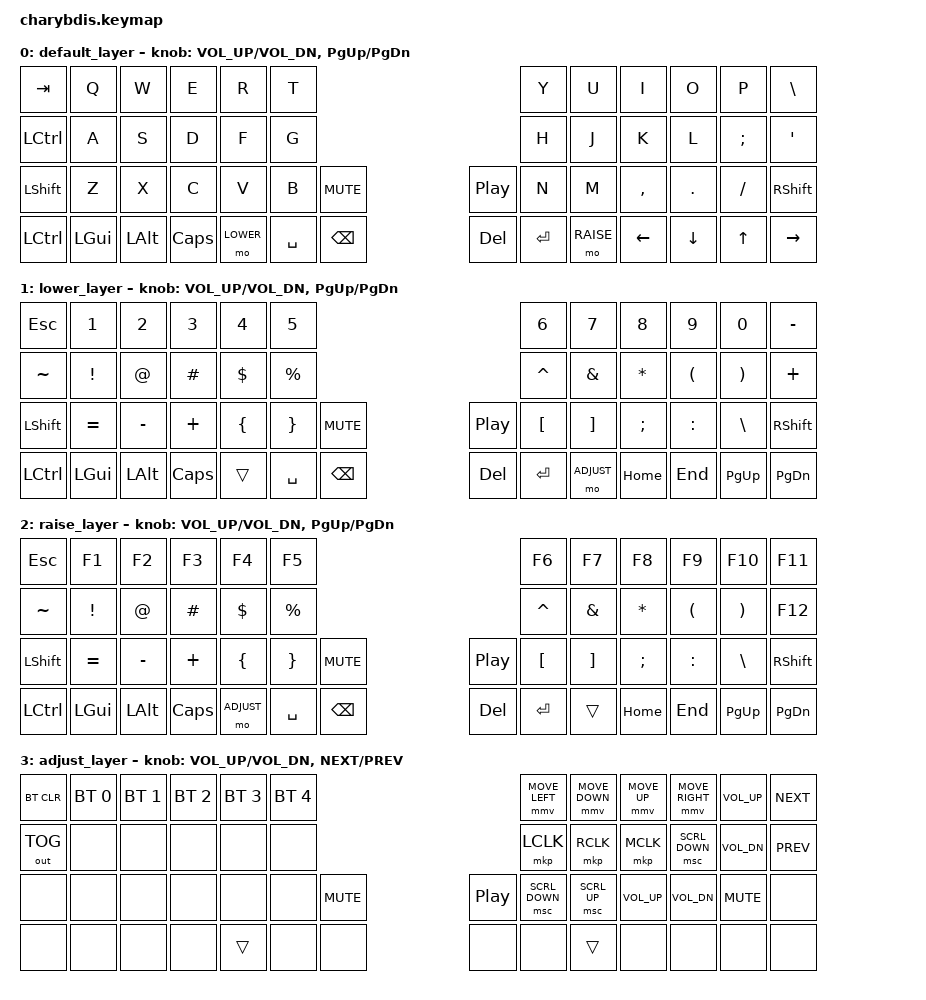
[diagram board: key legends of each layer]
/*
 * Copyright (c) 2023 The ZMK Contributors
 *
 * SPDX-License-Identifier: MIT
 */

#include <behaviors.dtsi>
#include <dt-bindings/zmk/keys.h>
#include <dt-bindings/zmk/bt.h>
#include <dt-bindings/zmk/outputs.h>
#include <dt-bindings/zmk/mouse.h>

// Layers
#define DEFAULT 0
#define LOWER   1
#define RAISE   2
#define ADJUST  3

/ {
    keymap {
        compatible = "zmk,keymap";

        default_layer {
            // ---------------------------------------------------------------------------------------------------------------------------------
            // |  TAB  |  Q  |  W  |  E   |  R   |  T   |                                          |  Y   |  U    |  I    |  O   |   P   |   \  |
            // |  CTRL |  A  |  S  |  D   |  F   |  G   |                                          |  H   |  J    |  K    |  L   |   ;   |   '  |
            // | SHIFT |  Z  |  X  |  C   |  V   |  B   |  MUTE  |                        | PLAY   |  N   |  M    |  ,    |  .   |   /   | SHIFT|
            // | LCTL  | LGUI| LALT| CAPS |LOWER |SPACE | BSPACE |                        | DELETE |ENTER | RAISE | LEFT  | DOWN |  UP   | RIGHT|
            //                                                                
            bindings = <
                &kp TAB   &kp Q &kp W &kp E &kp R &kp T                                                &kp Y &kp U  &kp I     &kp O   &kp P    &kp BSLH
                &kp LCTRL &kp A &kp S &kp D &kp F &kp G                                                &kp H &kp J  &kp K     &kp L   &kp SEMI &kp SQT
                &kp LSHFT &kp Z &kp X &kp C &kp V &kp B &kp C_MUTE                         &kp C_PP    &kp N &kp M  &kp COMMA &kp DOT &kp FSLH &kp RSHFT
                &kp LCTRL &kp LGUI &kp LALT &kp CAPS &mo LOWER &kp SPACE &kp BSPC         &kp DEL &kp RET &mo RAISE &kp LEFT &kp DOWN &kp UP &kp RIGHT
            >;

            sensor-bindings = <&inc_dec_kp C_VOL_UP C_VOL_DN &inc_dec_kp PG_UP PG_DN>;
        };

        lower_layer {
            // ---------------------------------------------------------------------------------------------------------------------------------
            // |  ESC  |  1  |  2  |  3   |  4   |  5   |                                          |  6   |  7    |  8    |  9   |   0   |   -  |
            // |   ~   |  !  |  @  |  #   |  $   |  %   |                                          |  ^   |  &    |  *    |  (   |   )   |   +  |
            // | SHIFT |  =  |  -  |  +   |  {   |  }   |  MUTE  |                        | PLAY   |  [   |  ]    |  ;    |  :   |   \   | SHIFT|
            // | LCTL  | LGUI| LALT| CAPS |LOWER |SPACE | BSPACE |                        | DELETE |ENTER | RAISE | HOME  | END  | PGUP  | PGDN |
            //
            bindings = <
                &kp ESC  &kp N1 &kp N2 &kp N3 &kp N4 &kp N5                                      &kp N6 &kp N7 &kp N8 &kp N9 &kp N0 &kp MINUS
                &kp TILDE &kp EXCL &kp AT &kp HASH &kp DLLR &kp PRCNT                            &kp CARET &kp AMPS &kp ASTRK &kp LPAR &kp RPAR &kp PLUS
                &kp LSHFT &kp EQUAL &kp MINUS &kp PLUS &kp LBRC &kp RBRC &kp C_MUTE   &kp C_PP   &kp LBKT &kp RBKT &kp SEMI &kp COLON &kp BSLH &kp RSHFT
                &kp LCTRL &kp LGUI &kp LALT &kp CAPS &trans &kp SPACE &kp BSPC        &kp DEL    &kp RET &mo ADJUST &kp HOME &kp END &kp PG_UP &kp PG_DN
            >;

            sensor-bindings = <&inc_dec_kp C_VOL_UP C_VOL_DN &inc_dec_kp PG_UP PG_DN>;
        };

        raise_layer {
            // ---------------------------------------------------------------------------------------------------------------------------------
            // |  ESC  |  F1 |  F2 |  F3  |  F4  |  F5  |                                          |  F6  |  F7   |  F8   |  F9  |  F10  |  F11 |
            // |   ~   |  !  |  @  |  #   |  $   |  %   |                                          |  ^   |  &    |  *    |  (   |   )   |  F12 |
            // | SHIFT |  =  |  -  |  +   |  {   |  }   |  MUTE  |                        | PLAY   |  [   |  ]    |  ;    |  :   |   \   | SHIFT|
            // | LCTL  | LGUI| LALT| CAPS |LOWER |SPACE | BSPACE |                        | DELETE |ENTER | RAISE | HOME  | END  | PGUP  | PGDN |
            //
            bindings = <
                &kp ESC  &kp F1 &kp F2 &kp F3 &kp F4 &kp F5                                       &kp F6 &kp F7 &kp F8 &kp F9 &kp F10 &kp F11
                &kp TILDE &kp EXCL &kp AT &kp HASH &kp DLLR &kp PRCNT                             &kp CARET &kp AMPS &kp ASTRK &kp LPAR &kp RPAR &kp F12
                &kp LSHFT &kp EQUAL &kp MINUS &kp PLUS &kp LBRC &kp RBRC &kp C_MUTE   &kp C_PP    &kp LBKT &kp RBKT &kp SEMI &kp COLON &kp BSLH &kp RSHFT
                &kp LCTRL &kp LGUI &kp LALT &kp CAPS &mo ADJUST &kp SPACE &kp BSPC     &kp DEL    &kp RET &trans &kp HOME &kp END &kp PG_UP &kp PG_DN
            >;

            sensor-bindings = <&inc_dec_kp C_VOL_UP C_VOL_DN &inc_dec_kp PG_UP PG_DN>;
        };

        adjust_layer {
            // ---------------------------------------------------------------------------------------------------------------------------------
            // | BTCLR | BT1 | BT2 |  BT3 |  BT4 |  BT5 |                                          | MOUSE1| MDOWN | MUP  | MRIGHT| VOL+ | NEXT |
            // |OUT_TOG|     |     |      |      |      |                                          | MLEFT |MOUSDN |MOUSUP|MRIGHT| VOL- | PREV |
            // |       |     |     |      |      |      |  MUTE  |                        | PLAY   | SPDWN | BACKUP| VOLUP| VOLDW| MUTE |      |
            // |       |     |     |      |      |      |        |                        |        |       |       |      |      |      |      |
            //
            bindings = <
                &bt BT_CLR &bt BT_SEL 0 &bt BT_SEL 1 &bt BT_SEL 2 &bt BT_SEL 3 &bt BT_SEL 4                 &mmv MOVE_LEFT &mmv MOVE_DOWN &mmv MOVE_UP &mmv MOVE_RIGHT &kp C_VOL_UP &kp C_NEXT
                &out OUT_TOG &none &none &none &none &none                                                    &mkp LCLK &mkp RCLK &mkp MCLK &msc SCRL_DOWN &kp C_VOL_DN &kp C_PREV
                &none &none &none &none &none &none &kp C_MUTE                                    &kp C_PP    &msc SCRL_DOWN &msc SCRL_UP &kp C_VOL_UP &kp C_VOL_DN &kp C_MUTE &none
                &none &none &none &none &trans &none &none                                        &none       &none &trans &none &none &none &none
            >;

            sensor-bindings = <&inc_dec_kp C_VOL_UP C_VOL_DN &inc_dec_kp C_NEXT C_PREV>;
        };
    };
};
